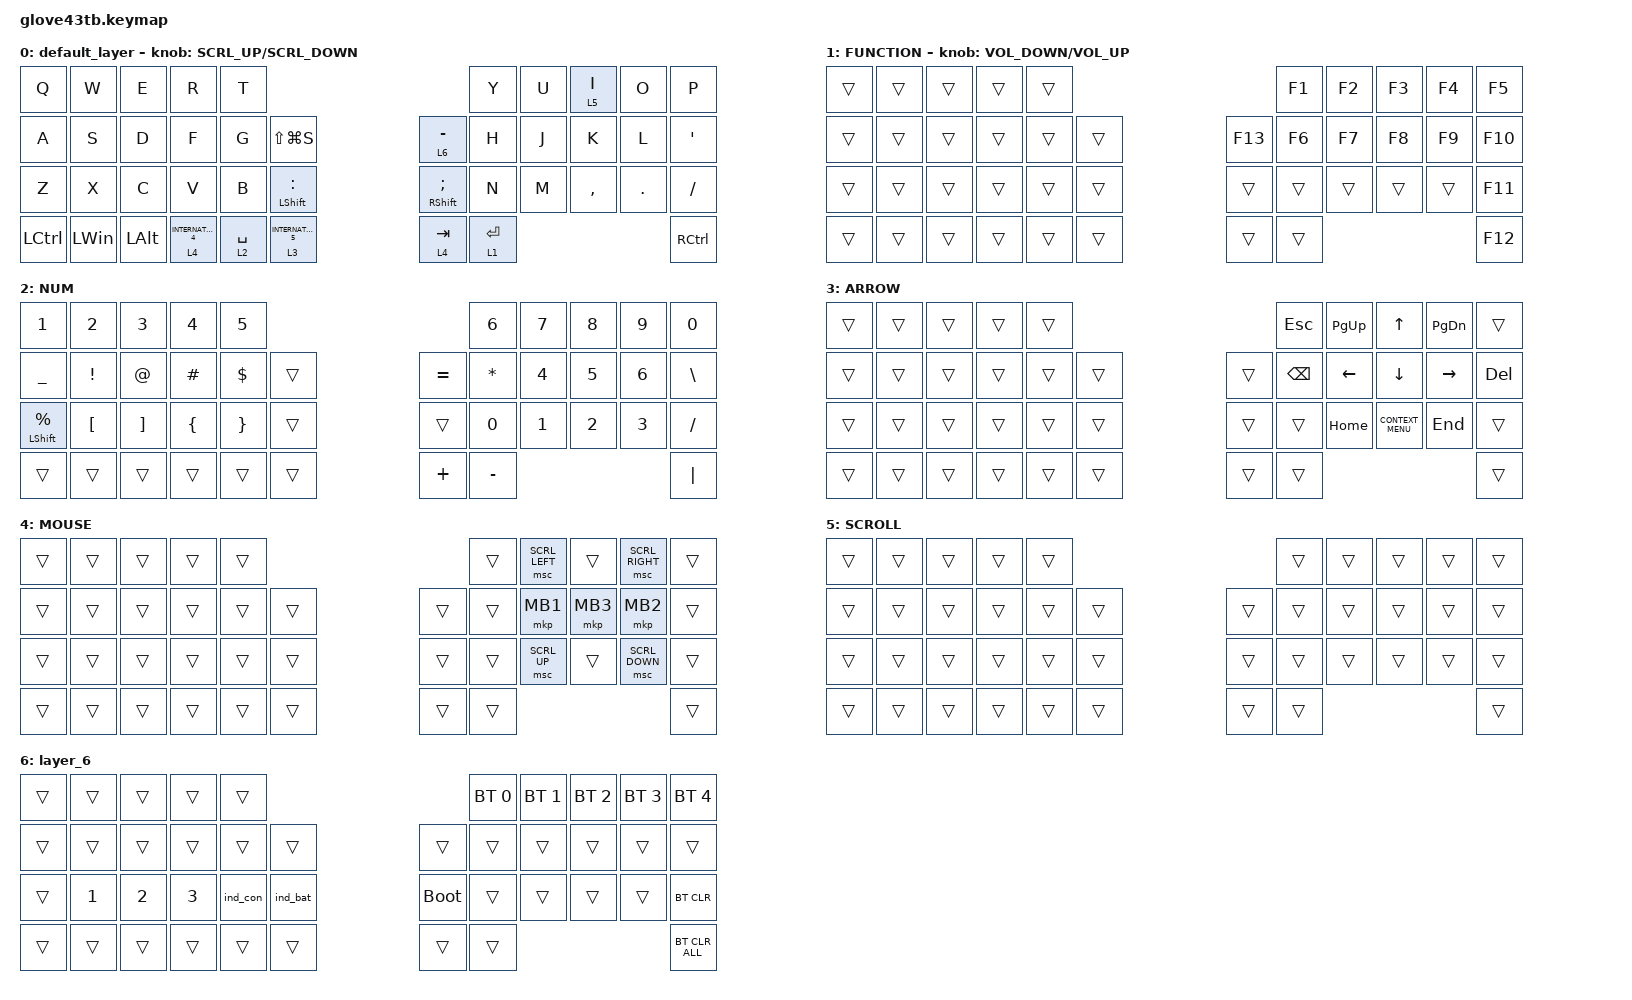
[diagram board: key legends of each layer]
#define ZMK_POINTING_DEFAULT_SCRL_VAL 150

#include <behaviors/rgbled_widget.dtsi>
#include <dt-bindings/zmk/input_transform.h>
#include <input/processors.dtsi>
#include <zephyr/dt-bindings/input/input-event-codes.h>
#include <behaviors.dtsi>
#include <dt-bindings/zmk/bt.h>
#include <dt-bindings/zmk/keys.h>
#include <dt-bindings/zmk/pointing.h>

&mt {
    flavor = "balanced";
    quick-tap-ms = <0>;
};

&mmv {
    delay-ms = <20>;
    trigger-period-ms = <5>;
    time-to-max-speed-ms = <100>;
    acceleration-exponent = <2>;
};

&msc {
    delay-ms = <3>;
    trigger-period-ms = <3>;
    time-to-max-speed-ms = <100>;
    acceleration-exponent = <0>;
};

/ {
    input_processors {
        zip_wheel_scaler: zip_wheel_scaler {
            compatible = "zmk,input-processor-scaler";
            #input-processor-cells = <2>;
            type = <INPUT_EV_REL>;
            codes = <INPUT_REL_WHEEL>;
            track-remainders;
        };
    };
};

/ {
    combos {
        compatible = "zmk,combos";

        tab {
            bindings = <&kp TAB>;
            key-positions = <11 12>;
        };

        shift_tab {
            bindings = <&kp LS(TAB)>;
            key-positions = <12 13>;
        };

        muhennkann {
            bindings = <&to_layer_0 INT_MUHENKAN>;
            key-positions = <11 10>;
        };

        double_quotation {
            bindings = <&kp DOUBLE_QUOTES>;
            key-positions = <20 21>;
        };

        eq {
            bindings = <&kp EQUAL>;
            key-positions = <24 25>;
        };
    };

    macros {
        to_layer_0: to_layer_0 {
            compatible = "zmk,behavior-macro-one-param";
            #binding-cells = <1>;
            bindings = <&to 0 &macro_param_1to1 &kp MACRO_PLACEHOLDER>;
            label = "TO_LAYER_0";
        };
    };

    behaviors {
        lt_to_layer_0: lt_to_layer_0 {
            compatible = "zmk,behavior-hold-tap";
            label = "LAYER_TAP_TO_0";
            bindings = <&mo>, <&to_layer_0>;

            #binding-cells = <2>;
            tapping-term-ms = <200>;
        };

        sensor_rotate_kp: sensor_rotate_kp {
            compatible = "zmk,behavior-sensor-rotate-var";
            #sensor-binding-cells = <2>;
            bindings = <&kp>, <&kp>;
        };

        mouse_wheel_scroll: mouse_wheel_scroll {
            compatible = "zmk,behavior-sensor-rotate-var";
            #sensor-binding-cells = <2>;
            bindings = <&msc>, <&msc>;

            tap-ms = <20>;
        };
    };

    keymap {
        compatible = "zmk,keymap";

        default_layer {
            bindings = <
&kp Q      &kp W         &kp E         &kp R                             &kp T                                                                         &kp Y        &kp U  &lt 5 I    &kp O    &kp P
&kp A      &kp S         &kp D         &kp F                             &kp G        &kp LS(LG(S))                         &lt 6 MINUS                &kp H        &kp J  &kp K      &kp L    &kp SQT
&kp Z      &kp X         &kp C         &kp V                             &kp B        &mt LEFT_SHIFT COLON                  &mt RIGHT_SHIFT SEMICOLON  &kp N        &kp M  &kp COMMA  &kp DOT  &kp SLASH
&kp LCTRL  &kp LEFT_WIN  &kp LEFT_ALT  &lt_to_layer_0 4 INTERNATIONAL_4  &lt 2 SPACE  &lt_to_layer_0 3 INTERNATIONAL_5      &lt 4 TAB                  &lt 1 ENTER                             &kp RIGHT_CONTROL
            >;

            sensor-bindings = <&mouse_wheel_scroll SCRL_UP SCRL_DOWN>;
        };

        FUNCTION {
            bindings = <
&trans  &trans  &trans  &trans  &trans                       &kp F1  &kp F2  &kp F3  &kp F4  &kp F5
&trans  &trans  &trans  &trans  &trans  &trans      &kp F13  &kp F6  &kp F7  &kp F8  &kp F9  &kp F10
&trans  &trans  &trans  &trans  &trans  &trans      &trans   &trans  &trans  &trans  &trans  &kp F11
&trans  &trans  &trans  &trans  &trans  &trans      &trans   &trans                          &kp F12
            >;

            sensor-bindings = <&sensor_rotate_kp C_VOLUME_DOWN C_VOLUME_UP>;
        };

        NUM {
            bindings = <
&kp NUMBER_1            &kp NUMBER_2      &kp NUMBER_3       &kp NUMBER_4    &kp NUMBER_5                            &kp NUMBER_6  &kp NUMBER_7  &kp NUMBER_8  &kp NUMBER_9  &kp NUMBER_0
&kp UNDERSCORE          &kp EXCLAMATION   &kp AT_SIGN        &kp HASH        &kp DOLLAR       &trans      &kp EQUAL  &kp ASTERISK  &kp NUMBER_4  &kp NUMBER_5  &kp NUMBER_6  &kp BACKSLASH
&mt LEFT_SHIFT PERCENT  &kp LEFT_BRACKET  &kp RIGHT_BRACKET  &kp LEFT_BRACE  &kp RIGHT_BRACE  &trans      &trans     &kp NUMBER_0  &kp NUMBER_1  &kp NUMBER_2  &kp NUMBER_3  &kp SLASH
&trans                  &trans            &trans             &trans          &trans           &trans      &kp PLUS   &kp MINUS                                               &kp PIPE
            >;
        };

        ARROW {
            bindings = <
&trans  &trans  &trans  &trans  &trans                      &kp ESCAPE     &kp PAGE_UP     &kp UP_ARROW        &kp PAGE_DOWN    &trans
&trans  &trans  &trans  &trans  &trans  &trans      &trans  &kp BACKSPACE  &kp LEFT_ARROW  &kp DOWN_ARROW      &kp RIGHT_ARROW  &kp DELETE
&trans  &trans  &trans  &trans  &trans  &trans      &trans  &trans         &kp HOME        &kp K_CONTEXT_MENU  &kp END          &trans
&trans  &trans  &trans  &trans  &trans  &trans      &trans  &trans                                                              &trans
            >;
        };

        MOUSE {
            bindings = <
&trans  &trans  &trans  &trans  &trans                      &trans  &msc SCRL_LEFT  &trans    &msc SCRL_RIGHT  &trans
&trans  &trans  &trans  &trans  &trans  &trans      &trans  &trans  &mkp MB1        &mkp MB3  &mkp MB2         &trans
&trans  &trans  &trans  &trans  &trans  &trans      &trans  &trans  &msc SCRL_UP    &trans    &msc SCRL_DOWN   &trans
&trans  &trans  &trans  &trans  &trans  &trans      &trans  &trans                                             &trans
            >;
        };

        SCROLL {
            bindings = <
&trans  &trans  &trans  &trans  &trans                      &trans  &trans  &trans  &trans  &trans
&trans  &trans  &trans  &trans  &trans  &trans      &trans  &trans  &trans  &trans  &trans  &trans
&trans  &trans  &trans  &trans  &trans  &trans      &trans  &trans  &trans  &trans  &trans  &trans
&trans  &trans  &trans  &trans  &trans  &trans      &trans  &trans                          &trans
            >;
        };

        layer_6 {
            bindings = <
&trans  &trans        &trans        &trans        &trans                               &bt BT_SEL 0  &bt BT_SEL 1  &bt BT_SEL 2  &bt BT_SEL 3  &bt BT_SEL 4
&trans  &trans        &trans        &trans        &trans    &trans        &trans       &trans        &trans        &trans        &trans        &trans
&trans  &kp NUMBER_1  &kp NUMBER_2  &kp NUMBER_3  &ind_con  &ind_bat      &bootloader  &trans        &trans        &trans        &trans        &bt BT_CLR
&trans  &trans        &trans        &trans        &trans    &trans        &trans       &trans                                                  &bt BT_CLR_ALL
            >;
        };
    };
};
